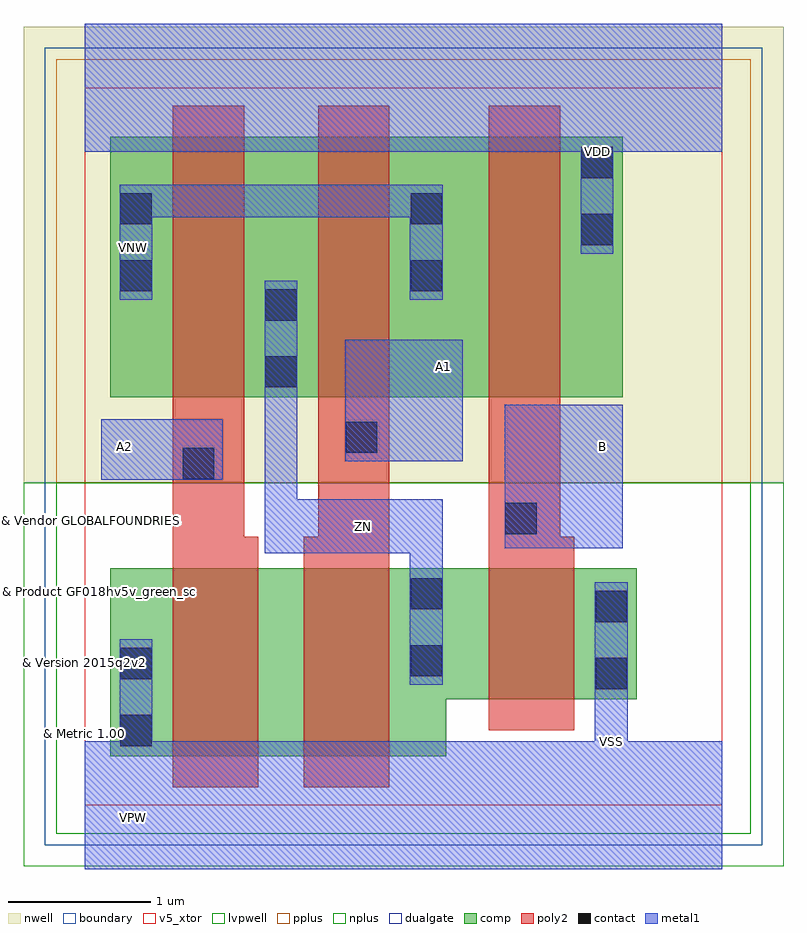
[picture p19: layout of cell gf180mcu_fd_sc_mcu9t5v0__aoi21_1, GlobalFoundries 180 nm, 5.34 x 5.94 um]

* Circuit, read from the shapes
.subckt gf180mcu_fd_sc_mcu9t5v0__aoi21_1 A1 A2 B VDD VNW VSS ZN
XM1 n1 A2 VSS VSUBS nfet_05v0 w=1.32u l=0.6u
XM2 ZN A1 n1 VSUBS nfet_05v0 w=1.32u l=0.6u
XM3 VSS B ZN VSUBS nfet_05v0 w=0.92u l=0.6u
XM4 ZN A2 n2 VNW pfet_05v0 w=1.83u l=0.5u
XM5 n2 A1 ZN VNW pfet_05v0 w=1.83u l=0.5u
XM6 VDD B n2 VNW pfet_05v0 w=1.83u l=0.5u
.ends

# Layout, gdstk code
import gdstk
lib = gdstk.Library(unit=1e-6, precision=5e-10)
def R(c, l, rs):  # rectangles x0, y0, x1, y1
    for r in rs: c.add(gdstk.rectangle(r[:2], r[2:], *l))
def P(c, l, *ps):  # polygons
    for p in ps: c.add(gdstk.Polygon(p, *l))
boundary = (0, 0)
nwell = (21, 0)
comp = (22, 0)
poly2 = (30, 0)
pplus = (31, 0)
nplus = (32, 0)
contact = (33, 0)
metal1 = (34, 0)
dualgate = (55, 0)
v5_xtor = (112, 1)
lvpwell = (204, 0)

gf180mcu_fd_sc_mcu9t5v0_ = lib.new_cell('gf180mcu_fd_sc_mcu9t5v0__aoi21_1')
R(gf180mcu_fd_sc_mcu9t5v0_, boundary, [(0,0,4.48,5.04)])
R(gf180mcu_fd_sc_mcu9t5v0_, nwell, [(-0.43,2.265,4.91,5.47)])
R(gf180mcu_fd_sc_mcu9t5v0_, comp, [(0.18,2.865,3.78,4.695)])
P(gf180mcu_fd_sc_mcu9t5v0_, comp, [(0.18,0.345),(0.18,1.665),(3.88,1.665),(3.88,0.745),(2.54,0.745),(2.54,0.345)])
P(gf180mcu_fd_sc_mcu9t5v0_, poly2, [(0.62,0.125),(0.62,4.915),(1.12,4.915),(1.12,1.885),(1.22,1.885),(1.22,0.125)],
  [(1.54,0.125),(1.54,1.885),(1.64,1.885),(1.64,4.915),(2.14,4.915),(2.14,0.125)],
  [(2.84,0.525),(2.84,4.915),(3.34,4.915),(3.34,1.885),(3.44,1.885),(3.44,0.525)])
R(gf180mcu_fd_sc_mcu9t5v0_, pplus, [(-0.2,2.265,4.68,5.24)])
R(gf180mcu_fd_sc_mcu9t5v0_, nplus, [(-0.2,-0.2,4.68,2.265)])
R(gf180mcu_fd_sc_mcu9t5v0_, contact, [(0.25,0.415,0.47,0.635), (3.59,0.815,3.81,1.035), (0.25,0.885,0.47,1.105), (2.29,0.905,2.51,1.125), (3.59,1.285,3.81,1.505), (2.29,1.375,2.51,1.595), (2.955,1.905,3.175,2.125), (0.69,2.29,0.91,2.51), (1.835,2.475,2.055,2.695), (1.27,2.935,1.49,3.155), (1.27,3.405,1.49,3.625), (0.25,3.61,0.47,3.83), (2.29,3.61,2.51,3.83), (3.49,3.935,3.71,4.155), (0.25,4.08,0.47,4.3), (2.29,4.08,2.51,4.3), (3.49,4.405,3.71,4.625)])
R(gf180mcu_fd_sc_mcu9t5v0_, metal1, [(2.95,1.805,3.78,2.815), (0.115,2.285,0.97,2.71), (1.83,2.415,2.655,3.27)])
P(gf180mcu_fd_sc_mcu9t5v0_, metal1, [(2.285,0.845),(2.285,1.77),(1.265,1.77),(1.265,3.685),(1.495,3.685),(1.495,2.15),(2.515,2.15),(2.515,0.845)],
  [(0.245,3.55),(0.245,4.36),(2.515,4.36),(2.515,3.55),(2.285,3.55),(2.285,4.13),(0.475,4.13),(0.475,3.55)],
  [(0,-0.45),(0,0.45),(0.245,0.45),(0.245,1.165),(0.475,1.165),(0.475,0.45),(3.585,0.45),(3.585,1.565),(3.815,1.565),(3.815,0.45),(4.48,0.45),(4.48,-0.45)],
  [(3.485,3.875),(3.485,4.59),(0,4.59),(0,5.49),(4.48,5.49),(4.48,4.59),(3.715,4.59),(3.715,3.875)])
R(gf180mcu_fd_sc_mcu9t5v0_, dualgate, [(-0.28,-0.28,4.76,5.32)])
R(gf180mcu_fd_sc_mcu9t5v0_, v5_xtor, [(0,0,4.48,5.04)])
R(gf180mcu_fd_sc_mcu9t5v0_, lvpwell, [(-0.43,-0.43,4.91,2.265)])
gf180mcu_fd_sc_mcu9t5v0_.add(gdstk.Label('A1', (2.52,3.08), layer=34, texttype=10))
gf180mcu_fd_sc_mcu9t5v0_.add(gdstk.Label('A2', (0.28,2.52), layer=34, texttype=10))
gf180mcu_fd_sc_mcu9t5v0_.add(gdstk.Label('B', (3.64,2.52), layer=34, texttype=10))
gf180mcu_fd_sc_mcu9t5v0_.add(gdstk.Label('VDD', (3.6,4.59), layer=34, texttype=10))
gf180mcu_fd_sc_mcu9t5v0_.add(gdstk.Label('VSS', (3.7,0.45), layer=34, texttype=10))
gf180mcu_fd_sc_mcu9t5v0_.add(gdstk.Label('ZN', (1.96,1.96), layer=34, texttype=10))
gf180mcu_fd_sc_mcu9t5v0_.add(gdstk.Label('& Vendor GLOBALFOUNDRIES', (0,2), layer=63, texttype=63))
gf180mcu_fd_sc_mcu9t5v0_.add(gdstk.Label('& Product GF018hv5v_green_sc9', (0,1.5), layer=63, texttype=63))
gf180mcu_fd_sc_mcu9t5v0_.add(gdstk.Label('& Version 2015q2v2', (0,1), layer=63, texttype=63))
gf180mcu_fd_sc_mcu9t5v0_.add(gdstk.Label('& Metric 1.00', (0,0.5), layer=63, texttype=63))
gf180mcu_fd_sc_mcu9t5v0_.add(gdstk.Label('VNW', (0.345,3.92), layer=21, texttype=10))
gf180mcu_fd_sc_mcu9t5v0_.add(gdstk.Label('VPW', (0.34,-0.085), layer=204, texttype=10))

lib.write_gds('gf180mcu_fd_sc_mcu9t5v0__aoi21_1.gds')
